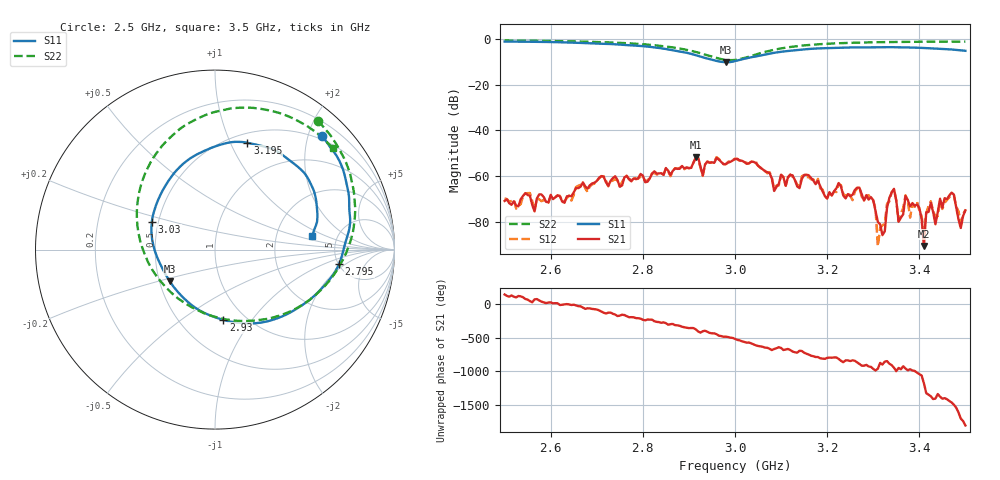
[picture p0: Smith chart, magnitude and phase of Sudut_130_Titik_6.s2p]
# Hz S RI R 50
! CMT, C1220, 16058040, 17.2.0/1
! Date: 15/08/2018 10:17:03
! Data: Format (Calibration Info)
! Freq  S11: Re/Im (F2)  S21: Re/Im (F2)  S12: Re/Im (F2)  S22: Re/Im (F2)
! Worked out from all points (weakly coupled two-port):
!   201 points, 2.5 GHz to 3.5 GHz, reference 50 ohm
!   highest |S21| = -51.65 dB at 2.915 GHz (marker M1); lowest = -90.4 dB at 3.41 GHz (marker M2)
!   lowest |S11| = -10.2 dB at 2.98 GHz (marker M3), VSWR 1.89, Z = 28.3 - j11 ohm
!   |S11| at or under -10 dB: 2.968 GHz to 2.995 GHz (26.22 MHz wide, 0.88 % of centre)
!   |S22| runs from -9.3 to -0.7 dB; largest |S21 - S12| = 0.0002
!   S11 on the Smith chart (normalised r, x): 2.5 GHz: 0.43, +2.25; 2.795 GHz: 5.07, -1.59; 2.93 GHz: 0.80, -0.74; 3.03 GHz: 0.46, +0.17; 3.195 GHz: 0.60, +1.16; 3.5 GHz: 3.23, +0.71
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2.5e9  0.5964 0.633  -0.000211 0.0002  -0.000235 0.000229  0.5731 0.7166
2.565e9  0.6653 0.5404  7.4e-05 0.000155  7.23e-05 0.000164  0.6451 0.634
2.67e9  0.7438 0.3171  0.000399 -0.000622  0.000393 -0.000608  0.7453 0.4439
2.795e9  0.6914 -0.0807  -0.000867 0.000719  -0.000735 0.000662  0.7635 0.0778
2.835e9  0.5893 -0.222  2.45e-05 0.00116  -4.96e-05 0.00109  0.701 -0.0772
2.915e9  0.1543 -0.4096  0.00247 -0.000848  0.00231 -0.000873  0.3592 -0.3674
2.93e9  0.0472 -0.3918  0.000724 -0.000764  0.000737 -0.000705  0.2541 -0.3912
2.98e9  -0.2527 -0.1758  -0.00109 -0.00149  -0.00101 -0.00154  -0.1368 -0.3176
3e9  -0.3225 -0.0423  -0.00223 -0.000828  -0.00231 -0.000719  -0.2735 -0.21
3.03e9  -0.352 0.1559  -0.0016 0.00104  -0.00159 0.00105  -0.4048 0.0102
3.085e9  -0.2091 0.4472  0.000301 0.000373  0.000339 0.000382  -0.3895 0.4236
3.17e9  0.1 0.5994  0.000453 -0.000669  0.000499 -0.000696  -0.0738 0.7407
3.195e9  0.1801 0.5951  -2.99e-05 -0.000371  -1.64e-05 -0.000367  0.0188 0.7714
3.27e9  0.3751 0.5282  -0.000557 -0.000102  -0.00056 -0.00011  0.2555 0.7841
3.315e9  0.4641 0.4593  -8.11e-05 -3.8e-05  -6.35e-05 3.99e-05  0.3647 0.7589
3.335e9  0.4959 0.4286  -0.00033 -7.96e-05  -0.000278 -5.43e-05  0.4081 0.7428
3.355e9  0.5202 0.3929  -6.72e-05 7.75e-05  -5.75e-05 8.78e-05  0.4466 0.7252
3.37e9  0.5347 0.3642  -0.000201 0.000313  -0.000239 0.000303  0.4754 0.7097
3.41e9  0.5622 0.2824  -3.52e-06 -2.99e-05  -2.45e-05 5.32e-05  0.5406 0.6691
3.47e9  0.5655 0.1443  0.000416 -0.000149  0.000365 -0.000128  0.6213 0.6019
3.485e9  0.5539 0.1115  -0.000112 -2.78e-05  -0.000151 -8.55e-05  0.6394 0.5827
3.5e9  0.5406 0.0769  0.000181 2.61e-07  0.000181 2.93e-05  0.6561 0.565
